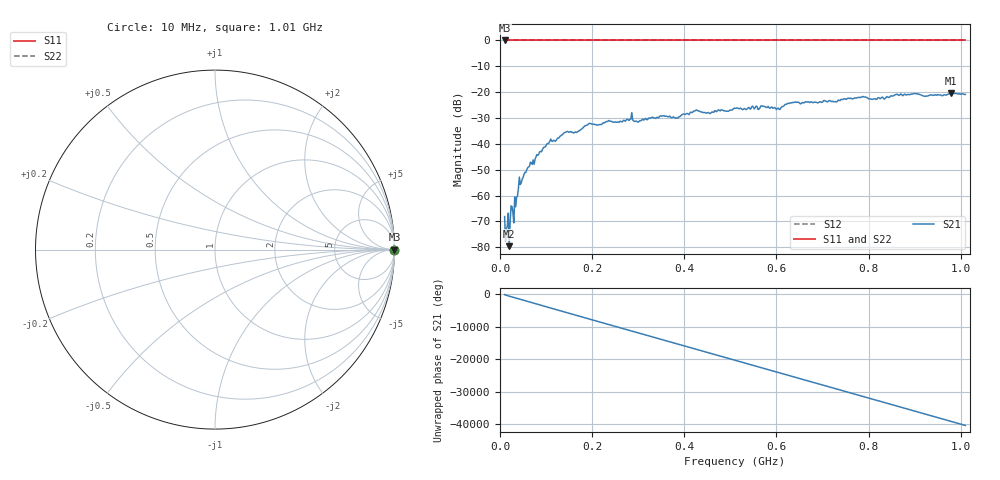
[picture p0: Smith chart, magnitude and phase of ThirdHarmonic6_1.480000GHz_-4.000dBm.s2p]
! 8/16/2025 5:17:24 PM
! C:\ANRITSUVNA\TEMP\TEMP.S2P
! CHANNEL.1
! TR.MEASUREMENT
! RAW.DATA
! RF.CORRECTION.OFF
! AVERAGING.OFF
! IF.BANDWIDTH: 5KHZ
! SWEEPTYPE:  FREQ.SWEEP(Linear)
! Reference Plane Port Info
! PORT:  PORT1  PORT2
! DISTANCE:  0  m  0  m
! TIME:  0  s  0  s
! PHASE.OFFSET:  0  deg.  0  deg.
! LOSS:  0  dB  0  dB
! REF.LOSS:  0  dB  0  dB
! REF.FREQ:  0  Hz  0  Hz
! Power Info
! POWER:  -20  dBm  -20  dBm
! EFF.POWER:  -20  dBm  -20  dBm
! SOURCE.ATTEN:  0  dB  0  dB
! TEST.ATTEN:  0  dB  0  dB
# GHZ S RI R 50.0
! FREQ.GHZ  S11RE  S11IM  S21RE  S21IM  S12RE  S12IM  S22RE  S22IM
!; PortSelection: Port_12
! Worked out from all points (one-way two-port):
!   501 points, 10 MHz to 1.01 GHz, reference 50 ohm
!   highest |S21| = -20.38 dB at 978 MHz (marker M1); lowest = -79.6 dB at 20 MHz (marker M2)
!   lowest |S11| = 0.0 dB at 10 MHz (marker M3)
!   |S11| at or under -10 dB: nowhere
!   |S22| runs from 0.0 to 0.0 dB; largest |S21 - S12| = 1.1
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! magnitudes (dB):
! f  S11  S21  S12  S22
! 10 MHz  0.0  -68.1  0.0  0.0
! 14 MHz  0.0  -72.9  0.0  0.0
! 16 MHz  0.0  -71.7  0.0  0.0
! 20 MHz  0.0  -79.6  0.0  0.0
! 28 MHz  0.0  -66.4  0.0  0.0
! 34 MHz  0.0  -64.3  0.0  0.0
! 44 MHz  0.0  -55.7  0.0  0.0
! 64 MHz  0.0  -48.7  0.0  0.0
! 106 MHz  0.0  -39.7  0.0  0.0
! 142 MHz  0.0  -35.5  0.0  0.0
! 178 MHz  0.0  -34.1  0.0  0.0
! 196 MHz  0.0  -32.1  0.0  0.0
! 344 MHz  0.0  -30.0  0.0  0.0
! 384 MHz  0.0  -29.9  0.0  0.0
! 424 MHz  0.0  -27.1  0.0  0.0
! 510 MHz  0.0  -26.3  0.0  0.0
! 604 MHz  0.0  -26.2  0.0  0.0
! 628 MHz  0.0  -24.4  0.0  0.0
! 678 MHz  0.0  -24.0  0.0  0.0
! 844 MHz  0.0  -22.1  0.0  0.0
! 978 MHz  0.0  -20.4  0.0  0.0
! 1.01 GHz  0.0  -20.9  0.0  0.0
